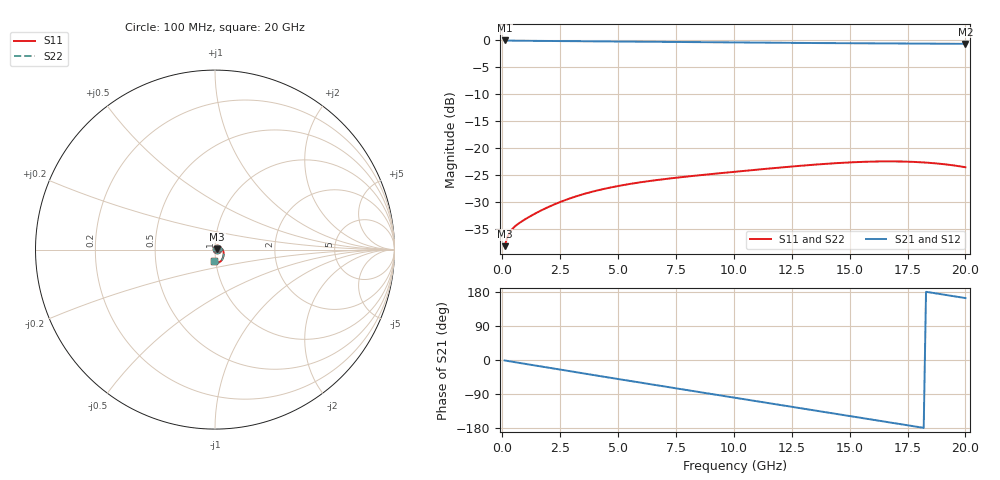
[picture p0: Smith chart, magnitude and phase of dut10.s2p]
! Touchstone file exported from HFSS 2026.1.0
!  File:  C:/ffzhzh/LocalFiles/Ansys_Project_Files/temp_val_TSV_RDL_10_1782976400_45308.aedt
!  Generated:  03:20:30 PM Jul  2, 2026
!  Design:  TSV_RDL
!  Project:  temp_val_TSV_RDL_10_1782976400_45308
! Variables:
!  h_bsmrdl = 3.28um
!  h_ox = 20um
!  h_rdl = 5um
!  h_sub = 56.96um
!  h_tmrdl = 4.88um
!  h_tsv = 56.96um
!  h_via = 3um
!  l_bsmrdl = 418.21um
!  l_sub = 3424.5um
!  l_tmrdl = 402.26um
!  m_sub = 200um
!  pitch = 33.25um
!  r_tsv = 8.34um
!  s_tmrdl = 10um
!  w_bsmrdl = 23.98um
!  w_sub = 500um
!  w_tmrdl = 29.63um
!  x_tsv_center1 = 417.075um
!  x_tsv_center2 = 859.265um
!  x_tsv_center3 = 1291.155um
!  x_tsv_center4 = 1733.345um
!  x_tsv_center5 = 2165.235um
!  x_tsv_center6 = 2607.425um
# GHz S MA R 50.000000
! Terminal data exported
! Port[1] = TM_RDL1_1_T1
! Port[2] = TM_RDL5_1_T1
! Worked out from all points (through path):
!   200 points, 100 MHz to 20 GHz, reference 50 ohm
!   highest |S21| = -0.10 dB at 100 MHz (marker M1); lowest = -0.7 dB at 20 GHz (marker M2)
!   group delay of S21, straight-line fit = 27.2 ps
!   lowest |S11| = -38.3 dB at 100 MHz (marker M3), VSWR 1.02, Z = 51.2 + j0.302 ohm
!   |S11| at or under -10 dB: start of sweep to end of sweep
!   |S22| runs from -38.3 to -22.5 dB; largest |S21 - S12| = 3e-13
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0.1  0.0122 14.0  0.9882 -1.2  0.9882 -1.2  0.0122 14.0
! Gamma 0 0 0 0
! Port Impedance 50 0 50 0
0.2  0.01435 19.0  0.9866 -2.2  0.9866 -2.2  0.01435 19.0
0.3  0.01607 19.9  0.9852 -3.3  0.9852 -3.3  0.01607 19.9
0.4  0.01731 19.8  0.9842 -4.3  0.9842 -4.3  0.01731 19.8
0.8  0.02045 19.9  0.9819 -8.3  0.9819 -8.3  0.02045 19.9
2.1  0.02887 17.3  0.9768 -21.4  0.9768 -21.4  0.02887 17.3
3.5  0.03707 7.8  0.9709 -35.3  0.9709 -35.3  0.03708 7.8
5.2  0.04492 -6.0  0.9636 -52.2  0.9636 -52.2  0.04493 -6.1
6.8  0.05051 -18.3  0.9572 -67.9  0.9572 -67.9  0.05053 -18.4
7.7  0.05321 -24.6  0.9538 -76.7  0.9538 -76.7  0.05322 -24.6
8.5  0.05547 -29.8  0.951 -84.5  0.951 -84.5  0.05549 -29.8
9.3  0.05771 -34.6  0.9482 -92.3  0.9482 -92.3  0.05771 -34.7
10.1  0.05995 -39.2  0.9456 -100.2  0.9456 -100.2  0.05996 -39.3
10.9  0.06224 -43.7  0.943 -108.0  0.943 -108.0  0.06224 -43.7
11.7  0.06457 -48.0  0.9405 -115.8  0.9405 -115.8  0.06456 -48.1
13.4  0.06938 -57.3  0.9356 -132.3  0.9356 -132.3  0.06935 -57.3
15.1  0.07319 -66.9  0.9309 -148.9  0.9309 -148.9  0.07316 -66.9
16.7  0.07464 -76.4  0.9268 -164.4  0.9268 -164.4  0.07462 -76.3
17.5  0.07419 -81.1  0.9249 -172.2  0.9249 -172.2  0.07417 -81.0
18.3  0.07275 -85.8  0.923 180.0  0.923 180.0  0.07274 -85.6
19.1  0.07019 -90.3  0.9213 172.2  0.9213 172.2  0.07021 -90.1
20  0.06589 -95.0  0.9194 163.4  0.9194 163.4  0.06593 -94.7
